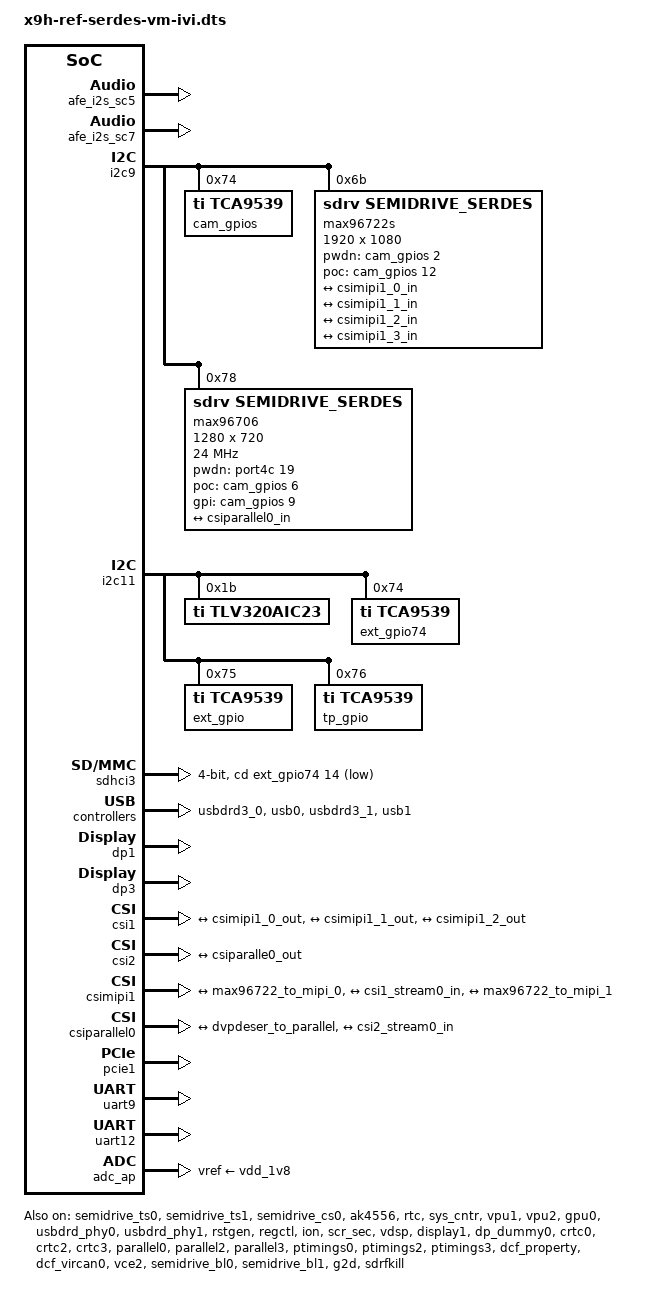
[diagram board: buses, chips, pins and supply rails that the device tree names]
/dts-v1/;

#include "x9-vm.dtsi"
#include "display-xen.dtsi"
#include "clk-xen.dtsi"
#include "lcd-timings-xen.dtsi"
#include "x9-reset-common.dtsi"
#include "x9-clk-common-xen.dtsi"
#include "vdsp-xen.dtsi"
#include "x9-gpu.dtsi"
#include "x9-import.dtsi"

/ {
	aliases {
                serial1 = &uart9;
                serial2 = &uart12;
        };

	reserved-memory {
		#address-cells = <0x2>;
		#size-cells = <0x2>;
		ranges;

		linux,cma {
			compatible = "shared-dma-pool";
			reusable;
			size = <0x0 0x40000000>; /* 1024MB */
			/* 4GB maximum in case of 32-bit only capable devices */
			alloc-ranges = <0x0 0x0 0x0 0xffffffff>;
			linux,cma-default;
		};

		vm_shmem: vm_shm,cma {
			compatible = "shared-dma-pool";
			reg = <0x0 XEN_RESERVED_VM_BASE 0x0 XEN_RESERVED_VM_SIZE>;
			status = "okay";
		};

                xrp_reserved: xrp@0 {
                        compatible = "shared-dma-pool";
                        status = "okay";
                        no-map;
                        reg = <0x0 XEN_RESERVED_VDSP_BASE 0x0 0x4000>;
		};

		xrp_shared: xrp,shmem {
                        reg = <0x0 (XEN_RESERVED_VDSP_BASE+0x4000) 0x0 (XEN_RESERVED_VDSP_SIZE-0x4000)>;
                        status = "okay";
		};

                services_shmem: services_shm,cma {
			compatible = "shared-dma-pool";
			reg = <0x0 XEN_RESERVED_SERVICE_BASE 0x0 XEN_RESERVED_SERVICE_SIZE>;
			status = "okay";
		};

	};
};

&semidrive_ts0 {
	status = "okay";
};
&semidrive_ts1 {
	status = "okay";
};

&semidrive_cs0 {
	dev_id = /bits/ 16 <0>;
	status = "okay";
};

&ak4556 {
       status = "okay";
};

&sound_ak7738 {
       compatible = "semidrive,x9-ref-mach";
       //semidrive,audio-codec = <&ak7738>;
       status = "okay";
};

&sound_ak4556 {
           status = "okay";
};

&sound_tlv320aic23 {
       semidrive,codec-name = "tlv320aic23-codec.1-001b";
       semidrive,audio-codec = <&tlv320aic23>;
       status = "okay";
};

&rtc {
	status = "okay";
};

&sys_cntr {
	status = "okay";
};

&dmac4 {
	status = "okay";
        vm,passthrough;
};

&dmac5 {
	status = "okay";
        vm,passthrough;
};

&dmac6 {
	status = "okay";
        vm,passthrough;
};

&afe_i2s_sc2{
	dmas = <&dmac4 X9_DMA_SLV_ID_I2S_SC3_TX>, <&dmac4 X9_DMA_SLV_ID_I2S_SC3_RX>;
	dma-names = "tx", "rx";
	status = "disabled";
};

&afe_i2s_sc5{
	dmas = <&dmac4 X9_DMA_SLV_ID_I2S_SC6_TX>, <&dmac4 X9_DMA_SLV_ID_I2S_SC6_RX>;
	dma-names = "tx", "rx";
	status = "okay";
};

&afe_i2s_sc7{
	dmas = <&dmac4 X9_DMA_SLV_ID_I2S_SC8_TX>, <&dmac4 X9_DMA_SLV_ID_I2S_SC8_RX>;
	dma-names = "tx", "rx";
	status = "okay";
};

&i2c4 {
	status = "disabled";

	gt9271_5_j33:gt9271_5_j33@14 {
		compatible = "sdrv,ds927_ds928_gt9xx";
		irq-gpios = <&port4e 3 0>;	/*io83*/
		//irq-gpios = <&ext_gpio 9 0>;	/*index 9*/
		reset-gpios = <&ext_gpio 7 0>;		/*index 7*/
		reg = <0x14>;
		dev_type = <0>;	/* 0: main device, 1: aux device */
		addr_ds927 = <0x1a>;
		addr_ds928 = <0x36>;
	};
};

&i2c5 {
        status = "disabled";

		ak7738:codec@1c{
			compatible = "akm,ak7738";
			reg = <0x1c>;
			ak7738,pdn-gpio = <&ext_gpio74 7 0>; // If PDN GPIO pin is used
		};

 		tas5404:codec@6c {
			compatible = "ti,tas5404";
			reg = <0x6c>;
			#sound-dai-cells = <0>;
			pvdd-supply = <&vdd_12>;
			standby-gpios = <&ext_gpio 0 GPIO_ACTIVE_LOW>;
		};

		tas6424:codec@6a {
			compatible = "ti,tas6424";
			reg = <0x6a>;
			#sound-dai-cells = <0>;
			pvdd-supply = <&vdd_12>;
			vbat-supply = <&vdd_12>;
			dvdd-supply = <&vdd_3v3>;
			standby-gpios = <&ext_gpio74 2 GPIO_ACTIVE_LOW>;
			mute-gpios = <&ext_gpio74 3 GPIO_ACTIVE_LOW>;
			warn-gpios = <&ext_gpio74 5 GPIO_ACTIVE_LOW>;
			fault-gpios = <&ext_gpio74 4 GPIO_ACTIVE_LOW>;
		};

		xf6020:codec@47{
			compatible = "iflytek,xf6020";
			reg = <0x47>;
			reset-gpios = <&ext_gpio74 15 GPIO_ACTIVE_LOW>;
		};
};

&i2c8 {
        status = "disabled";

		max9286:max9286@2c {
		compatible = "sdrv,semidrive_serdes";
		reg = <0x2c>;
		pwdn-gpios = <&cam_gpio 2 0>;
		poc-gpios = <&cam_gpio 7 0>;
		sync = <1>;
		width = <1280>;
		height = <720>;
		poc_addr = <0x28>;
		ser_addr = <0x40>;
		cam_module = "max9286_fengjing_MC163_MAX96705_720p";

		ports {
			#address-cells = <1>;
			#size-cells = <0>;
			port@0 {
				#address-cells = <1>;
				#size-cells = <0>;
				reg = <0>;
				remap_ser_addr = <0x48>;

				max9286_to_mipi_0: endpoint@0 {
					remote-endpoint = <&csimipi0_0_in>;
				};
			};
			port@1 {
				#address-cells = <1>;
				#size-cells = <0>;
				reg = <1>;
				remap_ser_addr = <0x49>;

				max9286_to_mipi_1: endpoint@0 {
					remote-endpoint = <&csimipi0_1_in>;
				};
			};
			port@2 {
				#address-cells = <1>;
				#size-cells = <0>;
				reg = <2>;
				remap_ser_addr = <0x4a>;

				max9286_to_mipi_2: endpoint@0 {
					remote-endpoint = <&csimipi0_2_in>;
				};
			};
			port@3 {
				#address-cells = <1>;
				#size-cells = <0>;
				reg = <3>;
				remap_ser_addr = <0x4b>;

				max9286_to_mipi_3: endpoint@0 {
					remote-endpoint = <&csimipi0_3_in>;
				};
			};
		};
	};

	cam_gpio: gpio@20 {
                compatible = "ti,tca6408";
                reg = <0x20>;
                #gpio-cells = <2>;
                gpio-controller;
	};
};

&i2c9 {
	status = "okay";

	cam_gpios: gpio@74 {
		compatible = "ti,tca9539";
		reg = <0x74>;
		#gpio-cells = <2>;
		gpio-controller;
	};

	max96722s:max96722s@6b {
		compatible = "sdrv,semidrive_serdes";
		reg = <0x6b>;
		width = <1920>;
		height = <1080>;
		pwdn-gpios = <&cam_gpios 2 0>;
		poc-gpios = <&cam_gpios 12 0>;
		poc_addr = <0x29>;
		ser_addr = <0x40>;
		cam_module = "max96722_sengyun_IMX390c_5200_GMSL2_1080p";

		ports {
			#address-cells = <1>;
		        #size-cells = <0>;
			port@0 {
				#address-cells = <1>;
				#size-cells = <0>;
				reg = <0>;
				remap_ser_addr = <0x48>;
				max96722_to_mipi_0: endpoint@0 {
					remote-endpoint = <&csimipi1_0_in>;
				};
			};
			port@1 {
				#address-cells = <1>;
				#size-cells = <0>;
				reg = <1>;
				remap_ser_addr = <0x49>;
				max96722_to_mipi_1: endpoint@0 {
					remote-endpoint = <&csimipi1_1_in>;
				};
			};
			port@2 {
				#address-cells = <1>;
				#size-cells = <0>;
				reg = <2>;
				remap_ser_addr = <0x4a>;
				max96722_to_mipi_2: endpoint@0 {
					remote-endpoint = <&csimipi1_2_in>;
				};
			};
			port@3 {
				#address-cells = <1>;
				#size-cells = <0>;
				reg = <3>;
				remap_ser_addr = <0x4b>;
				max96722_to_mipi_3: endpoint@0 {
					remote-endpoint = <&csimipi1_3_in>;
				};
			};
		};
	};

	max96706:max96706@78 {
		compatible = "sdrv,semidrive_serdes";
		clock-frequency = <24000000>;
		#address-cells = <1>;
		#size-cells = <0>;
		reg = <0x78>;
		width = <1280>;
		height = <720>;
		ser_addr = <0x40>;
		pwdn-gpios = <&port4c 19 0>;
		poc-gpios = <&cam_gpios 6 0>;
		gpi-gpios = <&cam_gpios 9 0>;
		cam_module = "max96706_fengjing_MC163_MAX96705_720p";
		port {
			#address-cells = <1>;
			#size-cells = <0>;
			reg = <0>;
			remap_ser_addr = <0x4c>;
			dvpdeser_to_parallel: endpoint@0 {
				remote-endpoint = <&csiparallel0_in>;
			};
		};
	};
};

&i2c10 {
        status = "disabled";
	gt9271_11_j35:gt9271_11_j35@5d {
		//pinctrl-names = "default";
		//pinctrl-0 = <&pinctrl_gpiotouch_mipi>;
		compatible = "goodix,gt9271";
		irq-gpios = <&port4e 17 0>;	/*io97*/
		reset-gpios = <&tp_gpio 2 0>;	/*index 2*/
		reg = <0x5d>;
	};
};

&i2c11 {
	status = "okay";
	tlv320aic23: codec@1b {
		compatible = "ti,tlv320aic23";
		reg = <0x1b>;
	};
	ext_gpio74: gpio@74 {
		compatible = "ti,tca9539";
		reg = <0x74>;
		#gpio-cells = <2>;
		gpio-controller;
	};
	ext_gpio: gpio@75 {
		compatible = "ti,tca9539";
		reg = <0x75>;
		#gpio-cells = <2>;
		gpio-controller;
	};
	tp_gpio: gpio@76 {
		compatible = "ti,tca9539";
		reg = <0x76>;
		#gpio-cells = <2>;
		gpio-controller;
	};
};

&i2c13 {
        status = "disabled";

	gt9271_14_j33:gt9271_14_j33@14 {
                //pinctrl-names = "default";
                //pinctrl-0 = <&pinctrl_gpiotouch_lvds>;
                compatible = "goodix,gt9271";
		irq-gpios = <&port4e 2 0>;	/*io82*/
                reset-gpios = <&ext_gpio 6 0>;	/*index 6*/
                reg = <0x14>;
		dev_type = <0>;
        };

};

&i2c14 {
	status = "disabled";

	gt9271_15_j33:gt9271_15_j33@14 {
		//pinctrl-names = "default";
		//pinctrl-0 = <&pinctrl_gpiotouch_lvds>;
		compatible = "goodix,gt9271";
		irq-gpios = <&port4e 3 0>;	/*io83*/
		reset-gpios = <&ext_gpio 7 0>;		/*index 7*/
		reg = <0x14>;
		dev_type = <1>;	/* 0: main device, 1: aux device */
	};
};

&i2c15 {
	status = "disabled";

	serdes_gt9xx_16_j35:touch@5d {
		compatible = "sdrv,ds941_ds948_gt9xx";
		irq-gpios = <&port4e 16 0>;	/*io96*/
		reset-gpios = <&tp_gpio 1 0>;	/*index 1*/
		reg = <0x5d>;
		dev_type = <0>;	/* 0: main device, 1: aux device */
		addr_ds941 = <0x0c>;
		addr_ds948 = <0x2c>;
		irq_channel = <3>;
		reset_channel = <2>;
	};

	serdes_gt9xx_16_j35a:touch@14 {
		compatible = "sdrv,ds941_ds948_gt9xx";
		irq-gpios = <&port4e 17 0>;	/*io97*/
		reset-gpios = <&tp_gpio 2 0>;	/*index 2*/
		reg = <0x14>;
		dev_type = <1>;	/* 0: main device, 1: aux device */
		addr_ds941 = <0x0d>;
		addr_ds948 = <0x3c>;
		irq_channel = <3>;
		reset_channel = <2>;
	};
};

&mbox{
	status = "okay";
};

&vpu1 {
	resets = <&rstgen RSTGEN_MODULE_VPU1>;
	reset-names = "vpu-reset";
	status = "okay";
        vm,passthrough;
};

&vpu2 {
	resets = <&rstgen RSTGEN_MODULE_VPU2>;
	reset-names = "vpu-reset";
	status = "okay";
        vm,passthrough;
};

&gpu0 {
        status = "okay";
        vm,passthrough;
        clocks = <&GPU1_0>;
        clock-names = "gpucoreclk";
};

&pinctrl {
	reg = <0x0 0x38500000 0x0 0x10000>;
	pinctrl-names = "default";

	sdx9-evk {

		pinctrl_gpiotouch_lvds: touchgrp_lvds {
                        kunlun,pins = <
			X9_PINCTRL_I2S_MC_SD4__GPIO_MUX2_IO80_1          0x00
			X9_PINCTRL_I2S_MC_SD5__GPIO_MUX2_IO81_1          0x00
                        X9_PINCTRL_I2S_MC_SD6__GPIO_MUX2_IO82_1          0x00
                        X9_PINCTRL_I2S_MC_SD7__GPIO_MUX2_IO83_1          0x00
                        >;
                };
		pinctrl_gpiotouch_mipi: touchgrp_mipi {
                        kunlun,pins = <
			X9_PINCTRL_EMMC2_CLK__GPIO_MUX2_IO96_1          0x00
			X9_PINCTRL_EMMC2_CMD__GPIO_MUX2_IO97_1          0x00
                        >;
                };
	};
};

&gpio4 {
	//pinctrl-names = "default";
	//pinctrl-0 = <&pinctrl_gpiotouch_lvds &pinctrl_gpiotouch_mipi>;
	status = "okay";
};

&sdhci3 {
	#clock-cells = <1>;
	clocks = <&EMMC3>;
	clock-names = "core";
	max-frequency = <25000000>;
	cd-gpios = <&ext_gpio74 14 GPIO_ACTIVE_LOW>;
	bus-width = <4>;
	no-1-8-v;
	no-mmc;
	no-sdio;
	disable-wp;
	keep-power-in-suspend;
	status = "okay";
        vm,passthrough;
};

&usbdrd3_0 {
	status = "okay";
};

&usb0 {
	status = "okay";
        vm,passthrough;
};

&usbdrd_phy0 {
             status = "okay";

};

&usbdrd3_1 {
	status = "okay";
};

&usb1 {
	status = "okay";
        vm,passthrough;
};

&usbdrd_phy1 {
             status = "okay";

};

&rstgen {
	reg = <0x0 0x38467000 0x0 0x1000>,	/* vpu1 */
		<0x0 0x38468000 0x0 0x1000>,	/* vpu2 */
                <0x0 0x3846f000 0x0 0x1000>;	/* pcie1 */
	rstgen_resource = <
		RSTGEN_MODULE_VPU1
		RSTGEN_MODULE_VPU2
                RSTGEN_MODULE_PCIE1
		>;
	status = "okay";
};

&regctl {
	reg = <0x0 0x38415000 0x0 0x1000>,
              <0x0 0x38418000 0x0 0x1000>,
              <0x0 0x38419000 0x0 0x1000>;
	reg-names = "SDRV_REG_REMAP",
			"SDRV_REG_BOOTREASON",
                        "SDRV_REG_HWID";
	status = "okay";
};

&ion {
	status = "okay";

	sdrv,display {
		sdrv,ion-heap-type = ION_HEAP_NAME_CARVEOUT;
		memory-region = <&vm_shmem>;
	};

        sdrv,services {
		sdrv,ion-heap-type = ION_HEAP_NAME_CARVEOUT;
		memory-region = <&services_shmem>;
	};

};

&hwsema {
        status = "disabled";
};

&scr_sec {
        status = "okay";
};

&vdsp {
	status = "okay";
};

&vdsp_ipc {
	status = "okay";
};

&display1 {
	sdriv,crtc = <&crtc0 &crtc2 &crtc3>;
	status = "okay";
        reg = <0x00 0x38419000 0x00 0x3000>;

};

&dp1 {
	status = "okay";
};

&dp3{
	status = "okay";
};

&dp_dummy0 {
	mboxes = <&mbox 0x90 0x8000>;
	status = "okay";
};

&crtc0 {
	dpc-master = <&dp1>;
	status = "okay";
        vm,passthrough;
};


&crtc2 {
	dpc-master = <&dp3>;
	status = "okay";
        vm,passthrough;
};

&crtc3 {
	dpc-master = <&dp_dummy0>;
	status = "okay";
};

&parallel0 {
	status = "okay";
};

&parallel2 {
	status = "okay";
};

&parallel3 {
	connector-mode = <20>;
	status = "okay";
};

&dtimings0 {
	native-mode = <&hsd_fhd1920x720>;

};

&dtimings2 {
	native-mode = <&hsd_fhd1920x720_2>;

};

&dtimings3 {
	native-mode = <&hsd_fhd1920x720_3>;

};
&ptimings0 {
	status = "okay";
};

&ptimings2 {
	status = "okay";
};

&ptimings3 {
	status = "okay";
};

&csi0 {
	mbus-type = "mipi-csi2";
	pclk-sample = <1>;
	status = "disabled";
        vm,passthrough;
	ports {
		csi0_stream0: port@0 {
			csi0_stream0_in: endpoint@0 {
				remote-endpoint = <&csimipi0_0_out>;
			};
		};
		csi0_stream1: port@1 {
			csi0_stream1_in: endpoint@0 {
				remote-endpoint = <&csimipi0_1_out>;
			};
		};
		csi0_stream2: port@2 {
			csi0_stream2_in: endpoint@0 {
				remote-endpoint = <&csimipi0_2_out>;
			};
		};
		csi0_stream3: port@3 {
			csi0_stream3_in: endpoint@0 {
				remote-endpoint = <&csimipi0_3_out>;
			};
		};
	};
};

&csi1 {
	mbus-type = "mipi-csi2";
	pclk-sample = <1>;
	status = "okay";
        vm,passthrough;
	ports {
		csi1_stream0: port@0 {
			csi1_stream0_in: endpoint@0 {
				remote-endpoint = <&csimipi1_0_out>;
			};
		};
		csi1_stream1: port@1 {
			csi1_stream1_in: endpoint@0 {
				remote-endpoint = <&csimipi1_1_out>;
			};
		};
		csi1_stream2: port@2 {
			csi1_stream2_in: endpoint@0 {
				remote-endpoint = <&csimipi1_2_out>;
			};
		};
		csi1_stream3: port@3 {
			csi1_stream3_in: endpoint@0 {
				remote-endpoint = <&csimipi1_3_out>;
			};
		};
	};
};

&csi2 {
	mbus-type = "parallel";
	pclk-sample = <0>;
	status = "okay";
        vm,passthrough;
	ports {
		csi2_stream0: port@0 {
			csi2_stream0_in: endpoint@0 {
				remote-endpoint = <&csiparalle0_out>;
			};
		};

	};
};

&csimipi0 {
	status = "disabled";
	lanerate = <576000000>;
	hsa = <10>;
	hbp = <20>;
	hsd = <0x60>;
	output-type = <0x1e>;

	ports {
		#address-cells = <1>;
		#size-cells = <0>;

		port@0 {
			#address-cells = <1>;
			#size-cells = <0>;
			reg = <0>;
			csimipi0_0_in: endpoint@0 {
				remote-endpoint = <&max9286_to_mipi_0>;
				reg = <0>;
			};
			csimipi0_0_out: endpoint@1 {
				remote-endpoint = <&csi0_stream0_in>;
				reg = <0>;
			};
		};
		port@1 {
			#address-cells = <1>;
			#size-cells = <0>;
			reg = <1>;
			csimipi0_1_in: endpoint@0 {
				remote-endpoint = <&max9286_to_mipi_1>;
				reg = <1>;
			};
			csimipi0_1_out: endpoint@1 {
				remote-endpoint = <&csi0_stream1_in>;
				reg = <1>;
			};
		};
		port@2 {
			#address-cells = <1>;
			#size-cells = <0>;
			reg = <2>;
			csimipi0_2_in: endpoint@0 {
				remote-endpoint = <&max9286_to_mipi_2>;
				reg = <2>;
			};
			csimipi0_2_out: endpoint@1 {
				remote-endpoint = <&csi0_stream2_in>;
				reg = <2>;
			};
		};
		port@3 {
			#address-cells = <1>;
			#size-cells = <0>;
			reg = <3>;
			csimipi0_3_in: endpoint@0 {
				remote-endpoint = <&max9286_to_mipi_3>;
				reg = <3>;
			};
			csimipi0_3_out: endpoint@1 {
				remote-endpoint = <&csi0_stream3_in>;
				reg = <3>;
			};
		};
	};
};

&csimipi1 {
	status = "okay";
	lanerate = <1500000000>;
	lanecount = <4>;
	hsa = <10>;
	hbp = <20>;
	hsd = <0x60>;
	output-type = <0x1e>;

	ports {
		#address-cells = <1>;
		#size-cells = <0>;

		port@0 {
			#address-cells = <1>;
			#size-cells = <0>;
			reg = <0>;
			csimipi1_0_in: endpoint@0 {
				remote-endpoint = <&max96722_to_mipi_0>;
				reg = <0>;
			};
			csimipi1_0_out: endpoint@1 {
				remote-endpoint = <&csi1_stream0_in>;
				reg = <0>;
			};
		};
		port@1 {
			#address-cells = <1>;
			#size-cells = <0>;
			reg = <1>;
			csimipi1_1_in: endpoint@0 {
				remote-endpoint = <&max96722_to_mipi_1>;
				reg = <1>;
			};
			csimipi1_1_out: endpoint@1 {
				remote-endpoint = <&csi1_stream1_in>;
				reg = <1>;
			};
		};
		port@2 {
			#address-cells = <1>;
			#size-cells = <0>;
			reg = <2>;
			csimipi1_2_in: endpoint@0 {
				remote-endpoint = <&max96722_to_mipi_2>;
				reg = <2>;
			};
			csimipi1_2_out: endpoint@1 {
				remote-endpoint = <&csi1_stream2_in>;
				reg = <2>;
			};
		};
		port@3 {
			#address-cells = <1>;
			#size-cells = <0>;
			reg = <3>;
			csimipi1_3_in: endpoint@0 {
				remote-endpoint = <&max96722_to_mipi_3>;
				reg = <3>;
			};
			csimipi1_3_out: endpoint@1 {
				remote-endpoint = <&csi1_stream3_in>;
				reg = <3>;
			};
		};
	};
};
&csiparallel0 {
	status = "okay";
	#address-cells = <1>;
	#size-cells = <0>;

	port {
		#address-cells = <1>;
		#size-cells = <0>;
		reg = <0>;
		csiparallel0_in: endpoint@0 {
			remote-endpoint = <&dvpdeser_to_parallel>;
		};

		csiparallel0_out: endpoint@1 {
			remote-endpoint = <&csi2_stream0_in>;
		};
	};
};

&pcie1 {
        resets = <&rstgen RSTGEN_MODULE_PCIE1>;
	reset-names = "pcie-reset";
	status = "okay";
        vm,passthrough;

        endpoint {
                   #address-cells = <1>;
		   #size-cells = <0>;
                   brcmf@1 {
		           reg = <1>;
		           compatible = "brcm,bcm4329-fmac";
	           };
        };
};

&uart9 {
	status = "okay";
};

&uart12 {
	status = "okay";
};

&dcf_property {
	status = "okay";
};

&dcf_vircan0 {
	status = "okay";
};

&vce2 {
   /*
 	* op-mode options:
 	* bit 0: rng enable(1) or disable(0)
 	* bit 1: ce enable(1) or disable(0)
 	*/
 	op-mode = <3>;
	status = "okay";
};

&pwm2 {
	sd,playback-num-chan = <2>;
	#pwm-cells = <3>;
	status = "disabled";
};

&semidrive_bl0 {
		compatible = "sd,rpmsg-bl"; /*"sd,rpmsg-bl" for rpmsg; "pwm-backlight" for native*/
		bl_screen-id = /bits/ 32 <1>;
		pwms = <&pwm2 PWM_CH0 PWM_FREQUENCY PWM_POLARITY_INVERSED>;
		brightness-levels = <0 1 2 3 4 5 6 7 8 9 10 11 12 13 14 15 16
							 17 18 19 20 21 22 23 24 25 26 27 28 29 30
							 31 32 33 34 35 36 37 38 39 40 41 42 43 44
							 45 46 47 48 49 50 51 52 53 54 55 56 57 58
							 59 60 61 62 63 64 65 66 67 68 69 70 71 72
							 73 74 75 76 77 78 79 80 81 82 83 84 85 86
							 87 88 89 90 91 92 93 94 95 96 97 98 99 100>;
		default-brightness-level = <70>;
		status = "okay";
};

&semidrive_bl1 {
		compatible = "sd,rpmsg-bl"; /*"sd,rpmsg-bl" for rpmsg; "pwm-backlight" for native*/
		bl_screen-id = /bits/ 32 <2>;
		pwms = <&pwm2 PWM_CH1 PWM_FREQUENCY PWM_POLARITY_INVERSED>;
		brightness-levels = <0 1 2 3 4 5 6 7 8 9 10 11 12 13 14 15 16
							 17 18 19 20 21 22 23 24 25 26 27 28 29 30
							 31 32 33 34 35 36 37 38 39 40 41 42 43 44
							 45 46 47 48 49 50 51 52 53 54 55 56 57 58
							 59 60 61 62 63 64 65 66 67 68 69 70 71 72
							 73 74 75 76 77 78 79 80 81 82 83 84 85 86
							 87 88 89 90 91 92 93 94 95 96 97 98 99 100>;
		default-brightness-level = <70>;
		status = "okay";
};

&g2d {
     status = "okay";
     vm,passthrough;
};

&adc_ap {
	resolution_value = <0x03>; /*ADC_6_BITS_E0 = 0x00 , ADC_8_BITS_E1 = 0x01 , ADC_10_BITS_E2 = 0x02 , ADC_12_BITS_E3 = 0x03*/
	clksrc_sel = <0x00>; /*ADC_SRC_CLK_ALT_E0 = 0x00 , ADC_SRC_CLK_PCLK_E1 = 0x01 , ADC_SRC_CLK_EXT_E2 = 0x02*/
	clk_value = <24000000>;
	channel_num = <4>;
	use-adc-fifo;
	vref-supply = <&vdd_1v8>;
	status = "okay";
};

&sdrfkill {
	bluetooth-en-gpio = <&tp_gpio 4 GPIO_ACTIVE_HIGH>;
	status = "okay";
};
